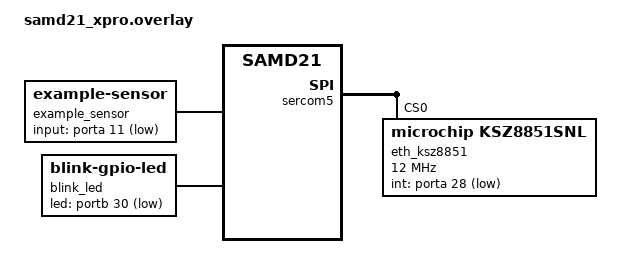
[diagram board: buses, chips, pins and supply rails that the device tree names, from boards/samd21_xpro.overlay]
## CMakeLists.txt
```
# SPDX-License-Identifier: Apache-2.0

cmake_minimum_required(VERSION 3.20.0)
find_package(Zephyr REQUIRED HINTS $ENV{ZEPHYR_BASE})
project(ufsm292_zephyr_app)

target_sources(app PRIVATE src/main.c)

# Inclusao do DataLogger
add_subdirectory(${CMAKE_CURRENT_SOURCE_DIR}/../lib/datalogger lib_datalogger)
```

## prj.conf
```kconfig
# Microkernel e alocacao de memoria (SAMD21 - 32KB RAM)
CONFIG_MAIN_STACK_SIZE=1280
CONFIG_SYSTEM_WORKQUEUE_STACK_SIZE=1280
CONFIG_HEAP_MEM_POOL_SIZE=1024

# Serial / Console / Printf
CONFIG_SERIAL=y
CONFIG_CONSOLE=y
CONFIG_UART_CONSOLE=y
CONFIG_STDOUT_CONSOLE=y
CONFIG_PRINTK=y
CONFIG_CBPRINTF_FP_A_SUPPORT=y

# Suporte Newlib
CONFIG_NEWLIB_LIBC=y
CONFIG_NEWLIB_LIBC_FLOAT_PRINTF=y

# Gerador aleatorio (Leve para a pilha IP)
CONFIG_TEST_RANDOM_GENERATOR=y
CONFIG_ENTROPY_GENERATOR=y

# Pilha de Rede TCP/IP e Sockets
CONFIG_NETWORKING=y
CONFIG_NET_L2_ETHERNET=y
CONFIG_NET_IPV4=y
CONFIG_NET_DHCPV4=y
CONFIG_NET_SOCKETS=y
CONFIG_NET_LOG=n

# Reducao de buffers para caber em RAM
CONFIG_NET_PKT_RX_COUNT=2
CONFIG_NET_PKT_TX_COUNT=2
CONFIG_NET_BUF_RX_COUNT=6
CONFIG_NET_BUF_TX_COUNT=6
CONFIG_NET_BUF_DATA_SIZE=256

# Drivers de Rede e SPI (KSZ8851)
CONFIG_NET_DRIVERS=y
CONFIG_ETH_DRIVER=y
CONFIG_SPI=y
CONFIG_ETH_KSZ8851SNL=y

# Suporte a Memoria Flash e NVS (Non-Volatile Storage)
CONFIG_FLASH=y
CONFIG_FLASH_PAGE_LAYOUT=y
CONFIG_NVS=y
CONFIG_MPU_ALLOW_FLASH_WRITE=y
```

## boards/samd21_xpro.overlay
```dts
/*
 * SPDX-License-Identifier: Apache-2.0
 */

/ {
example_sensor: example-sensor {
compatible = "zephyr,example-sensor";
input-gpios = <&porta 11 (GPIO_PULL_UP | GPIO_ACTIVE_LOW)>;
};

blink_led: blink-led {
compatible = "blink-gpio-led";
led-gpios = <&portb 30 GPIO_ACTIVE_LOW>;
blink-period-ms = <1000>;
};
};

&sercom5 {
status = "okay";
compatible = "atmel,sam0-spi";
#address-cells = <1>;
#size-cells = <0>;

eth_ksz8851: ksz8851@0 {
compatible = "microchip,ksz8851snl", "micrel,ksz8851snl";
reg = <0>;
spi-max-frequency = <12000000>;
int-gpios = <&porta 28 GPIO_ACTIVE_LOW>;
zephyr,random-mac-address;
status = "okay";
};
};

&flash0 {
partitions {
compatible = "fixed-partitions";
#address-cells = <1>;
#size-cells = <1>;

storage_partition: partition@3e000 {
label = "storage";
reg = <0x0003e000 0x00002000>;
};
};
};
```

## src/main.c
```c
/*
 * SPDX-License-Identifier: Apache-2.0
 */

#include <zephyr/kernel.h>
#include <zephyr/sys/printk.h>
#include <zephyr/device.h>
#include <zephyr/drivers/gpio.h>
#include <zephyr/net/socket.h>
#include <datalogger/datalogger.h>

#define SERVER_PORT 5000
#define SERVER_ADDR "192.168.1.100" /* IP da sua maquina host */

#define SW0_NODE  DT_PATH(example_sensor)
#define LED0_NODE DT_PATH(blink_led)

#if DT_NODE_EXISTS(SW0_NODE)
static const struct gpio_dt_spec button = GPIO_DT_SPEC_GET_OR(SW0_NODE, input_gpios, {0});
#endif

#if DT_NODE_EXISTS(LED0_NODE)
static const struct gpio_dt_spec led = GPIO_DT_SPEC_GET_OR(LED0_NODE, led_gpios, {0});
#endif

static datalogger_ring_buf_t logger_buffer;
static struct nvs_fs nvs;

int main(void)
{
    int sock;
    struct sockaddr_in server_addr;

    printk("=== SAMD21 DataLogger (UDP + NVS Flash) ===\n");

    datalogger_buf_init(&logger_buffer);

    /* Inicialização do NVS */
    if (datalogger_nvs_init(&nvs) == 0) {
        printk("[NVS] Sistema de arquivos NVS montado na Flash!\n");
        datalogger_entry_t last_saved;
        if (datalogger_nvs_load_entry(&nvs, &last_saved) > 0) {
            printk("[NVS] Ultimo registro recuperado do Flash -> TS: %u, Val: %d\n",
                   (unsigned int)last_saved.timestamp_ms, (int)last_saved.raw_io_val);
        }
    } else {
        printk("[NVS] Falha ao montar o sistema NVS.\n");
    }

    #if DT_NODE_EXISTS(SW0_NODE)
    if (button.port && device_is_ready(button.port)) {
        gpio_pin_configure_dt(&button, GPIO_INPUT);
        printk("[GPIO] Sensor PA11 pronto.\n");
    }
    #endif

    #if DT_NODE_EXISTS(LED0_NODE)
    if (led.port && device_is_ready(led.port)) {
        gpio_pin_configure_dt(&led, GPIO_OUTPUT_INACTIVE);
        printk("[GPIO] LED PB30 pronto.\n");
    }
    #endif

    /* Configuração do Socket UDP */
    sock = zsock_socket(AF_INET, SOCK_DGRAM, IPPROTO_UDP);
    memset(&server_addr, 0, sizeof(server_addr));
    server_addr.sin_family = AF_INET;
    server_addr.sin_port = htons(SERVER_PORT);
    zsock_inet_pton(AF_INET, SERVER_ADDR, &server_addr.sin_addr);

    datalogger_entry_t new_sample;
    datalogger_entry_t pop_sample;
    char json_buf[128];

    while (1) {
        new_sample.timestamp_ms = k_uptime_get_32();

        #if DT_NODE_EXISTS(SW0_NODE)
        if (button.port && device_is_ready(button.port)) {
            new_sample.digital_state = (bool)gpio_pin_get_dt(&button);
            new_sample.raw_io_val = new_sample.digital_state ? 1023 : 0;
        } else
        #endif
        {
            new_sample.digital_state = !new_sample.digital_state;
            new_sample.raw_io_val = (new_sample.raw_io_val + 50) % 1024;
        }

        /* 1. Salva a nova leitura na Flash (NVS) */
        datalogger_nvs_save_entry(&nvs, &new_sample);

        /* 2. Armazena a leitura no Ring Buffer em RAM */
        datalogger_buf_push(&logger_buffer, &new_sample);

        #if DT_NODE_EXISTS(LED0_NODE)
        if (led.port && device_is_ready(led.port)) {
            gpio_pin_toggle_dt(&led);
        }
        #endif

        /* 3. Despacha do Ring Buffer para transmissão UDP */
        if (datalogger_buf_pop(&logger_buffer, &pop_sample) == 0) {
            if (datalogger_format_json(&pop_sample, json_buf, sizeof(json_buf)) == 0) {
                printk("[DataLogger JSON] %s\n", json_buf);

                if (sock >= 0) {
                    zsock_sendto(sock, json_buf, strlen(json_buf), 0,
                                 (struct sockaddr *)&server_addr, sizeof(server_addr));
                }
            }
        }

        k_sleep(K_MSEC(2000));
    }

    return 0;
}
```
